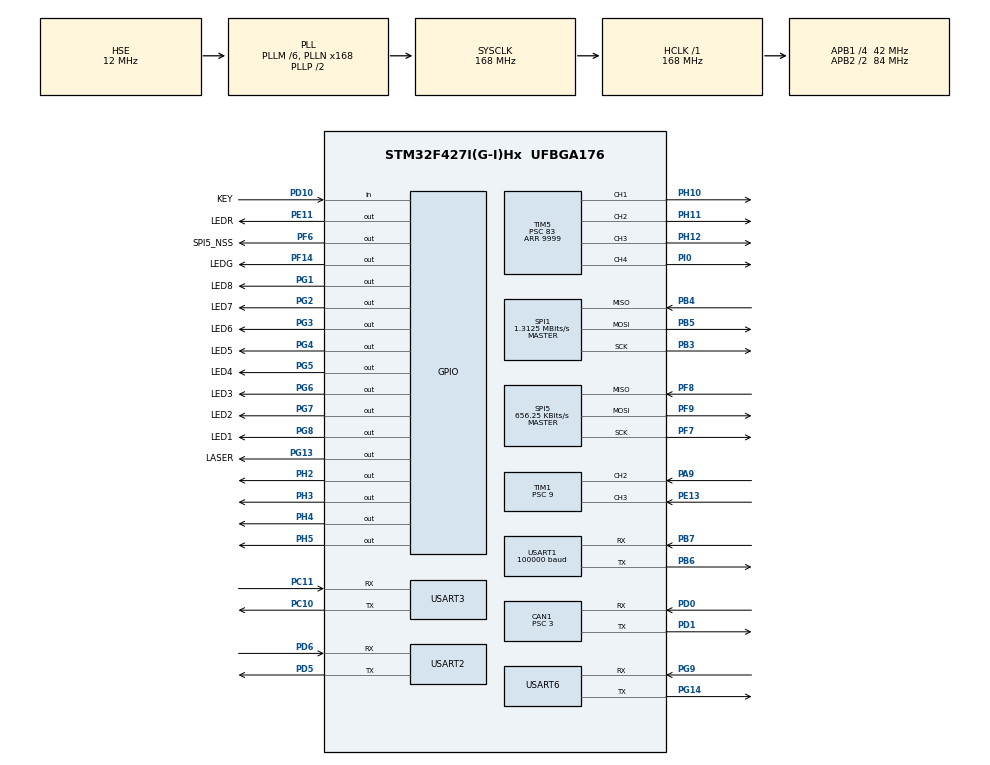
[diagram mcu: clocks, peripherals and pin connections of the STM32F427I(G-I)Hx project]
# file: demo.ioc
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CAN1.ABOM=ENABLE
CAN1.BS1=CAN_BS1_9TQ
CAN1.BS2=CAN_BS2_4TQ
CAN1.CalculateTimeBit=214
CAN1.CalculateTimeQuantum=71.42857142857143
CAN1.Prescaler=3
CAN1.SJW=CAN_SJW_1TQ
Dma.Request0=USART1_RX
Dma.Request1=TIM1_CH1/CH2/CH3
Dma.TIM1_CH1/CH2/CH3.1.Direction=DMA_PERIPH_TO_MEMORY
Dma.TIM1_CH1/CH2/CH3.1.FIFOMode=DMA_FIFOMODE_DISABLE
Dma.TIM1_CH1/CH2/CH3.1.Instance=DMA2_Stream6
Dma.TIM1_CH1/CH2/CH3.1.MemDataAlignment=DMA_MDATAALIGN_HALFWORD
Dma.TIM1_CH1/CH2/CH3.1.MemInc=DMA_MINC_ENABLE
Dma.TIM1_CH1/CH2/CH3.1.Mode=DMA_CIRCULAR
Dma.TIM1_CH1/CH2/CH3.1.PeriphDataAlignment=DMA_PDATAALIGN_HALFWORD
Dma.TIM1_CH1/CH2/CH3.1.PeriphInc=DMA_PINC_DISABLE
Dma.TIM1_CH1/CH2/CH3.1.Priority=DMA_PRIORITY_LOW
Dma.USART1_RX.0.Direction=DMA_PERIPH_TO_MEMORY
Dma.USART1_RX.0.FIFOMode=DMA_FIFOMODE_DISABLE
Dma.USART1_RX.0.Instance=DMA2_Stream2
Dma.USART1_RX.0.MemDataAlignment=DMA_MDATAALIGN_BYTE
Dma.USART1_RX.0.MemInc=DMA_MINC_ENABLE
Dma.USART1_RX.0.Mode=DMA_NORMAL
Dma.USART1_RX.0.PeriphDataAlignment=DMA_PDATAALIGN_BYTE
Dma.USART1_RX.0.PeriphInc=DMA_PINC_DISABLE
Dma.USART1_RX.0.Priority=DMA_PRIORITY_LOW
Mcu.Family=STM32F4
Mcu.Name=STM32F427I(G-I)Hx
Mcu.Package=UFBGA176
NVIC.CAN1_RX0_IRQn=true\:0\:0\:false\:false\:true\:true
NVIC.CAN1_TX_IRQn=true\:0\:0\:false\:false\:true\:true
NVIC.DMA2_Stream2_IRQn=true\:0\:0\:false\:false\:true\:true
NVIC.DMA2_Stream6_IRQn=true\:0\:0\:false\:false\:true\:false
NVIC.PriorityGroup=NVIC_PRIORITYGROUP_2
NVIC.TIM2_IRQn=true\:0\:0\:false\:false\:true\:true
NVIC.TIM3_IRQn=true\:0\:0\:false\:false\:true\:true
NVIC.TIM6_DAC_IRQn=true\:0\:0\:false\:false\:true\:true
NVIC.TimeBase=TIM6_DAC_IRQn
NVIC.TimeBaseIP=TIM6
NVIC.USART1_IRQn=true\:0\:0\:false\:false\:true\:true
NVIC.USART6_IRQn=true\:2\:3\:true\:false\:true\:true
PA13.Mode=Serial_Wire
PA13.Signal=SYS_JTMS-SWDIO
PA14.Mode=Serial_Wire
PA14.Signal=SYS_JTCK-SWCLK
PA9.Signal=S_TIM1_CH2
PB3.Mode=Full_Duplex_Master
PB3.Signal=SPI1_SCK
PB4.Mode=Full_Duplex_Master
PB4.Signal=SPI1_MISO
PB5.Mode=Full_Duplex_Master
PB5.Signal=SPI1_MOSI
PB6.Mode=Asynchronous
PB6.Signal=USART1_TX
PB7.Mode=Asynchronous
PB7.Signal=USART1_RX
PC10.Mode=Asynchronous
PC10.Signal=USART3_TX
PC11.Mode=Asynchronous
PC11.Signal=USART3_RX
PD0.Mode=Master
PD0.Signal=CAN1_RX
PD1.Mode=Master
PD1.Signal=CAN1_TX
PD10.GPIO_Label=KEY
PD10.Signal=GPIO_Input
PD5.Mode=Asynchronous
PD5.Signal=USART2_TX
PD6.Mode=Asynchronous
PD6.Signal=USART2_RX
PE11.GPIO_Label=LEDR
PE11.PinState=GPIO_PIN_SET
PE11.Signal=GPIO_Output
PE13.Signal=S_TIM1_CH3
PF14.GPIO_Label=LEDG
PF14.PinState=GPIO_PIN_SET
PF14.Signal=GPIO_Output
PF6.GPIO_Label=SPI5_NSS
PF6.PinState=GPIO_PIN_SET
PF6.Signal=GPIO_Output
PF7.Mode=Full_Duplex_Master
PF7.Signal=SPI5_SCK
PF8.Mode=Full_Duplex_Master
PF8.Signal=SPI5_MISO
PF9.Mode=Full_Duplex_Master
PF9.Signal=SPI5_MOSI
PG1.GPIO_Label=LED8
PG1.PinState=GPIO_PIN_SET
PG1.Signal=GPIO_Output
PG13.GPIO_Label=LASER
PG13.PinState=GPIO_PIN_SET
PG13.Signal=GPIO_Output
PG14.GPIO_Speed=GPIO_SPEED_FREQ_HIGH
PG14.Mode=Asynchronous
PG14.Signal=USART6_TX
PG2.GPIO_Label=LED7
PG2.PinState=GPIO_PIN_SET
PG2.Signal=GPIO_Output
PG3.GPIO_Label=LED6
PG3.PinState=GPIO_PIN_SET
PG3.Signal=GPIO_Output
PG4.GPIO_Label=LED5
PG4.PinState=GPIO_PIN_SET
PG4.Signal=GPIO_Output
PG5.GPIO_Label=LED4
PG5.PinState=GPIO_PIN_SET
PG5.Signal=GPIO_Output
PG6.GPIO_Label=LED3
PG6.PinState=GPIO_PIN_SET
PG6.Signal=GPIO_Output
PG7.GPIO_Label=LED2
PG7.PinState=GPIO_PIN_SET
PG7.Signal=GPIO_Output
PG8.GPIO_Label=LED1
PG8.PinState=GPIO_PIN_SET
PG8.Signal=GPIO_Output
PG9.GPIO_Speed=GPIO_SPEED_FREQ_HIGH
PG9.Mode=Asynchronous
PG9.Signal=USART6_RX
PH0/OSC_IN.Mode=HSE-External-Oscillator
PH0/OSC_IN.Signal=RCC_OSC_IN
PH1/OSC_OUT.Mode=HSE-External-Oscillator
PH1/OSC_OUT.Signal=RCC_OSC_OUT
PH10.Signal=S_TIM5_CH1
PH11.Signal=S_TIM5_CH2
PH12.Signal=S_TIM5_CH3
PH2.PinState=GPIO_PIN_SET
PH2.Signal=GPIO_Output
PH3.PinState=GPIO_PIN_SET
PH3.Signal=GPIO_Output
PH4.PinState=GPIO_PIN_SET
PH4.Signal=GPIO_Output
PH5.PinState=GPIO_PIN_SET
PH5.Signal=GPIO_Output
PI0.Signal=S_TIM5_CH4
ProjectManager.HeapSize=0x200
ProjectManager.StackSize=0x400
ProjectManager.TargetToolchain=MDK-ARM V5
RCC.48MHZClocksFreq_Value=84000000
RCC.AHBFreq_Value=168000000
RCC.APB1CLKDivider=RCC_HCLK_DIV4
RCC.APB1Freq_Value=42000000
RCC.APB1TimFreq_Value=84000000
RCC.APB2CLKDivider=RCC_HCLK_DIV2
RCC.APB2Freq_Value=84000000
RCC.APB2TimFreq_Value=168000000
RCC.CortexFreq_Value=168000000
RCC.HCLKFreq_Value=168000000
RCC.HSE_VALUE=12000000
RCC.HSI_VALUE=16000000
RCC.LSE_VALUE=32768
RCC.PLLM=6
RCC.PLLN=168
RCC.PLLSourceVirtual=RCC_PLLSOURCE_HSE
RCC.SYSCLKFreq_VALUE=168000000
RCC.SYSCLKSource=RCC_SYSCLKSOURCE_PLLCLK
RCC.VCOOutputFreq_Value=336000000
SH.S_TIM1_CH2.0=TIM1_CH2,Input_Capture2_from_TI2
SH.S_TIM1_CH2.1=TIM1_CH2,Input_Capture1_from_TI2
SH.S_TIM1_CH3.0=TIM1_CH3,Input_Capture3_from_TI3
SH.S_TIM1_CH3.1=TIM1_CH3,Input_Capture4_from_TI3
SH.S_TIM5_CH1.0=TIM5_CH1,PWM Generation1 CH1
SH.S_TIM5_CH2.0=TIM5_CH2,PWM Generation2 CH2
SH.S_TIM5_CH3.0=TIM5_CH3,PWM Generation3 CH3
SH.S_TIM5_CH4.0=TIM5_CH4,PWM Generation4 CH4
SPI1.BaudRatePrescaler=SPI_BAUDRATEPRESCALER_64
SPI1.CalculateBaudRate=1.3125 MBits/s
SPI1.Direction=SPI_DIRECTION_2LINES
SPI1.Mode=SPI_MODE_MASTER
SPI1.VirtualType=VM_MASTER
SPI5.BaudRatePrescaler=SPI_BAUDRATEPRESCALER_128
SPI5.CalculateBaudRate=656.25 KBits/s
SPI5.Direction=SPI_DIRECTION_2LINES
SPI5.Mode=SPI_MODE_MASTER
SPI5.VirtualType=VM_MASTER
TIM1.Channel-Input_Capture1_from_TI2=TIM_CHANNEL_1
TIM1.Channel-Input_Capture2_from_TI2=TIM_CHANNEL_2
TIM1.Channel-Input_Capture3_from_TI3=TIM_CHANNEL_3
TIM1.Channel-Input_Capture4_from_TI3=TIM_CHANNEL_4
TIM1.ICPolarity_CH2=TIM_INPUTCHANNELPOLARITY_BOTHEDGE
TIM1.Period=9999
TIM1.Prescaler=9
TIM2.Period=5000
TIM2.Prescaler=83
TIM3.Period=9999
TIM3.Prescaler=83
TIM5.Channel-PWM\ Generation1\ CH1=TIM_CHANNEL_1
TIM5.Channel-PWM\ Generation2\ CH2=TIM_CHANNEL_2
TIM5.Channel-PWM\ Generation3\ CH3=TIM_CHANNEL_3
TIM5.Channel-PWM\ Generation4\ CH4=TIM_CHANNEL_4
TIM5.OCMode_PWM-PWM\ Generation2\ CH2=TIM_OCMODE_PWM1
TIM5.Period=9999
TIM5.Prescaler=83
TIM5.Pulse-PWM\ Generation1\ CH1=5000
TIM5.Pulse-PWM\ Generation2\ CH2=5000
TIM5.Pulse-PWM\ Generation3\ CH3=5000
TIM5.Pulse-PWM\ Generation4\ CH4=5000
USART1.BaudRate=100000
USART1.Parity=PARITY_EVEN
USART1.VirtualMode=VM_ASYNC
USART2.VirtualMode=VM_ASYNC
USART3.VirtualMode=VM_ASYNC
USART6.VirtualMode=VM_ASYNC
VP_SYS_VS_tim6.Mode=TIM6
VP_TIM2_VS_ClockSourceINT.Mode=Internal
VP_TIM3_VS_ClockSourceINT.Mode=Internal
VP_TIM4_VS_ClockSourceINT.Mode=Internal
VP_TIM5_VS_ClockSourceINT.Mode=Internal
board=demo

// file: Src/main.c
/**
  ******************************************************************************
  * @file           : main.c
  * @brief          : Main program body
  ******************************************************************************
  ** This notice applies to any and all portions of this file
  * that are not between comment pairs USER CODE BEGIN and
  * USER CODE END. Other portions of this file, whether
  * inserted by the user or by software development tools
  * are owned by their respective copyright owners.
  *
  * COPYRIGHT(c) 2018 STMicroelectronics
  *
  * Redistribution and use in source and binary forms, with or without modification,
  * are permitted provided that the following conditions are met:
  *   1. Redistributions of source code must retain the above copyright notice,
  *      this list of conditions and the following disclaimer.
  *   2. Redistributions in binary form must reproduce the above copyright notice,
  *      this list of conditions and the following disclaimer in the documentation
  *      and/or other materials provided with the distribution.
  *   3. Neither the name of STMicroelectronics nor the names of its contributors
  *      may be used to endorse or promote products derived from this software
  *      without specific prior written permission.
  *
  * THIS SOFTWARE IS PROVIDED BY THE COPYRIGHT HOLDERS AND CONTRIBUTORS "AS IS"
  * AND ANY EXPRESS OR IMPLIED WARRANTIES, INCLUDING, BUT NOT LIMITED TO, THE
  * IMPLIED WARRANTIES OF MERCHANTABILITY AND FITNESS FOR A PARTICULAR PURPOSE ARE
  * DISCLAIMED. IN NO EVENT SHALL THE COPYRIGHT HOLDER OR CONTRIBUTORS BE LIABLE
  * FOR ANY DIRECT, INDIRECT, INCIDENTAL, SPECIAL, EXEMPLARY, OR CONSEQUENTIAL
  * DAMAGES (INCLUDING, BUT NOT LIMITED TO, PROCUREMENT OF SUBSTITUTE GOODS OR
  * SERVICES; LOSS OF USE, DATA, OR PROFITS; OR BUSINESS INTERRUPTION) HOWEVER
  * CAUSED AND ON ANY THEORY OF LIABILITY, WHETHER IN CONTRACT, STRICT LIABILITY,
  * OR TORT (INCLUDING NEGLIGENCE OR OTHERWISE) ARISING IN ANY WAY OUT OF THE USE
  * OF THIS SOFTWARE, EVEN IF ADVISED OF THE POSSIBILITY OF SUCH DAMAGE.
  *
  ******************************************************************************
  */
#include "main.h"
#include "stm32f4xx_hal.h"
#include "can.h"
#include "dma.h"
#include "spi.h"
#include "tim.h"
#include "usart.h"
#include "gpio.h"

/* USER CODE BEGIN Includes */
#include "robomaster_common.h"
/* USER CODE END Includes */

/* USER CODE BEGIN PV */
/* Private variables ---------------------------------------------------------*/
PID_TypeDef motor_pid[7];//初始化7个电机的pid结构体 其中0 1 2 3对应底盘电机，4 5 对应云台电机 6对应拨弹电机，目前只用到了0 1 2 3 6号电机

uint16_t TIM_COUNT[2];
#define SpeedStep 500

/* USER CODE END PV */

void SystemClock_Config(void);

/* USER CODE BEGIN PFP */
/* Private function prototypes -----------------------------------------------*/

/* USER CODE END PFP */

int main(void)
{

  /* MCU Configuration----------------------------------------------------------*/

  /* Reset of all peripherals, Initializes the Flash interface and the Systick. */
  HAL_Init();

  /* Configure the system clock */
  SystemClock_Config();

  /* Initialize all configured peripherals */
  MX_GPIO_Init();
  MX_DMA_Init();
  MX_CAN1_Init();
  MX_USART1_UART_Init();
  MX_TIM1_Init();
  MX_TIM5_Init();
  MX_USART6_UART_Init();
  MX_SPI5_Init();
  MX_TIM2_Init();
  MX_TIM3_Init();
  MX_TIM4_Init();
  MX_USART2_UART_Init();
  MX_USART3_UART_Init();
  MX_SPI1_Init();
  /* USER CODE BEGIN 2 */
	/**TIM5 GPIO Configuration
	PI0     ------> TIM5_CH4
	PH12     ------> TIM5_CH3
	PH11     ------> TIM5_CH2
	PH10     ------> TIM5_CH1
	*/

	HAL_TIM_PWM_Start(&htim5,TIM_CHANNEL_1);
	HAL_TIM_PWM_Start(&htim5,TIM_CHANNEL_2);
	HAL_TIM_PWM_Start(&htim5,TIM_CHANNEL_3);
	HAL_TIM_PWM_Start(&htim5,TIM_CHANNEL_4);

  my_can_filter_init_recv_all(&hcan1);     //配置CAN过滤器
  HAL_CAN_Receive_IT(&hcan1, CAN_FIFO0);   //启动CAN接收中断
  HAL_UART_Receive_IT_IDLE(&huart1,UART_Buffer,100);   //启动串口接收

	init_TIM5_PWM();			//初始化TIM5
	mpu_device_init();   //在初始化imu的时候，要先初始化SPI5和GPIOF6 不然无法初始化imu
	init_quaternion();	//初始化四元数，用于姿态解算
	all_pid_init();			//所有电机的pid初始化

	HAL_TIM_IC_Start_DMA(&htim1,TIM_CHANNEL_2,(uint32_t *)TIM_COUNT,2);
	HAL_TIM_Base_Start_IT(&htim2);//开启定时器2  程序主要任务都在定时器2中断里完成呢
	HAL_TIM_Base_Start_IT(&htim3);//开启定时器3  10ms一次，用于测试系统运行时间
  /* USER CODE END 2 */

  /* Infinite loop */
  while (1)
  {

  /* USER CODE BEGIN 3 */
//		wave_form_data[0] =motor_pid[6].output;
//	  wave_form_data[1] =motor_pid[6].target;
//	  wave_form_data[2] =moto_chassis[6].speed_rpm;
//	  wave_form_data[3] =moto_chassis[6].angle;
//	  wave_form_data[4] =moto_chassis[6].total_angle;//moto_chassis[0].real_current;
//	  wave_form_data[5] =moto_chassis[6].real_current;//moto_chassis[0].hall;

		wave_form_data[0] =(short)imu1.yaw;
	  wave_form_data[1] =(short)imu1.pit;
	  wave_form_data[2] =(short)imu1.rol;
	  wave_form_data[3] =(short)imu1.wx;
	  wave_form_data[4] =(short)imu1.wy;
	  wave_form_data[5] =(short)imu1.wz;
		shanwai_send_wave_form();   //将数据传输到三外上位机，可以看到实时波形
  }
  /* USER CODE END 3 */

}

void SystemClock_Config(void)
{

  RCC_OscInitTypeDef RCC_OscInitStruct;
  RCC_ClkInitTypeDef RCC_ClkInitStruct;

    /**Configure the main internal regulator output voltage
    */
  __HAL_RCC_PWR_CLK_ENABLE();

  __HAL_PWR_VOLTAGESCALING_CONFIG(PWR_REGULATOR_VOLTAGE_SCALE1);

    /**Initializes the CPU, AHB and APB busses clocks
    */
  RCC_OscInitStruct.OscillatorType = RCC_OSCILLATORTYPE_HSE;
  RCC_OscInitStruct.HSEState = RCC_HSE_ON;
  RCC_OscInitStruct.PLL.PLLState = RCC_PLL_ON;
  RCC_OscInitStruct.PLL.PLLSource = RCC_PLLSOURCE_HSE;
  RCC_OscInitStruct.PLL.PLLM = 6;
  RCC_OscInitStruct.PLL.PLLN = 168;
  RCC_OscInitStruct.PLL.PLLP = RCC_PLLP_DIV2;
  RCC_OscInitStruct.PLL.PLLQ = 4;
  if (HAL_RCC_OscConfig(&RCC_OscInitStruct) != HAL_OK)
  {
    _Error_Handler(__FILE__, __LINE__);
  }

    /**Initializes the CPU, AHB and APB busses clocks
    */
  RCC_ClkInitStruct.ClockType = RCC_CLOCKTYPE_HCLK|RCC_CLOCKTYPE_SYSCLK
                              |RCC_CLOCKTYPE_PCLK1|RCC_CLOCKTYPE_PCLK2;
  RCC_ClkInitStruct.SYSCLKSource = RCC_SYSCLKSOURCE_PLLCLK;
  RCC_ClkInitStruct.AHBCLKDivider = RCC_SYSCLK_DIV1;
  RCC_ClkInitStruct.APB1CLKDivider = RCC_HCLK_DIV4;
  RCC_ClkInitStruct.APB2CLKDivider = RCC_HCLK_DIV2;

  if (HAL_RCC_ClockConfig(&RCC_ClkInitStruct, FLASH_LATENCY_5) != HAL_OK)
  {
    _Error_Handler(__FILE__, __LINE__);
  }

    /**Configure the Systick interrupt time
    */
  HAL_SYSTICK_Config(HAL_RCC_GetHCLKFreq()/1000);

    /**Configure the Systick
    */
  HAL_SYSTICK_CLKSourceConfig(SYSTICK_CLKSOURCE_HCLK);

  /* SysTick_IRQn interrupt configuration */
  HAL_NVIC_SetPriority(SysTick_IRQn, 0, 0);
}

void HAL_TIM_PeriodElapsedCallback(TIM_HandleTypeDef *htim)
{
  if (htim->Instance == TIM6) {
    HAL_IncTick();
  }
}

void _Error_Handler(char *file, int line)
{
  while(1)
  {
  }
}

/************************ (C) COPYRIGHT STMicroelectronics *****END OF FILE****/
